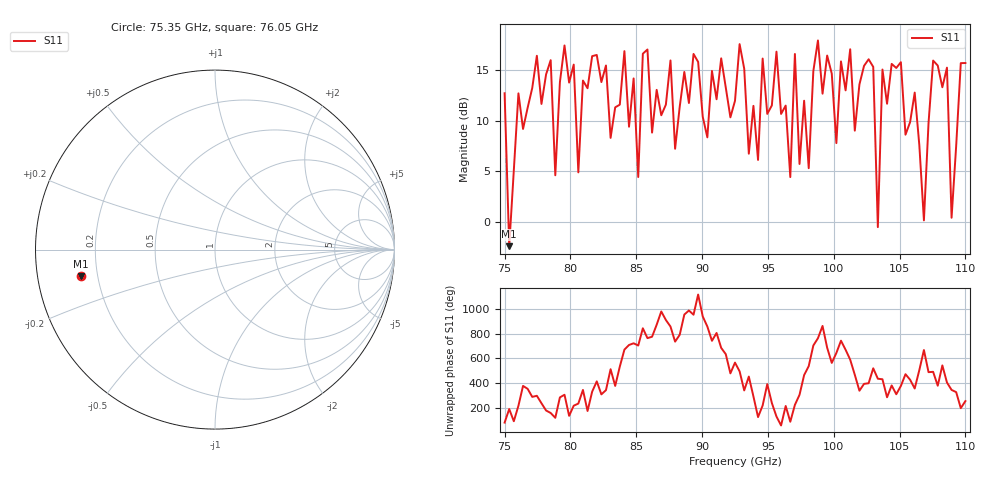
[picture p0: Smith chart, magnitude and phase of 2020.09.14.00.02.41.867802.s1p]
!Created with skrf (http://scikit-rf.org).
# GHz S RI R 50.0
!freq ReS11 ImS11
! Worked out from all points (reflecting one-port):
!   101 points, 75 GHz to 110 GHz, reference 50 ohm
!   lowest |S11| = -2.4 dB at 75.35 GHz (marker M1), VSWR 7.32, Z = 6.89 - j4.78 ohm
!   phase of S11 starts at 82 deg and turns +173 deg over the sweep
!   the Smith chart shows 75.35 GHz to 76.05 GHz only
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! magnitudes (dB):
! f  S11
! 75 GHz  12.7
! 75.35 GHz  -2.4
! 76.05 GHz  12.7
! 78.5 GHz  16.0
! 78.85 GHz  4.6
! 79.55 GHz  17.5
! 80.6 GHz  4.9
! 81.65 GHz  16.4
! 83.75 GHz  11.6
! 88.3 GHz  11.4
! 92.5 GHz  12.0
! 94.25 GHz  6.1
! 95.65 GHz  16.8
! 96.7 GHz  4.4
! 97.05 GHz  16.6
! 98.1 GHz  5.3
! 98.8 GHz  18.0
! 100.2 GHz  7.8
! 101.2 GHz  17.1
! 103 GHz  15.3
! 103.3 GHz  -0.5
! 103.7 GHz  15.1
! 105.8 GHz  9.9
! 106.8 GHz  0.2
! 107.5 GHz  16.0
! 108.6 GHz  15.3
! 109 GHz  0.4
! 110 GHz  15.7
